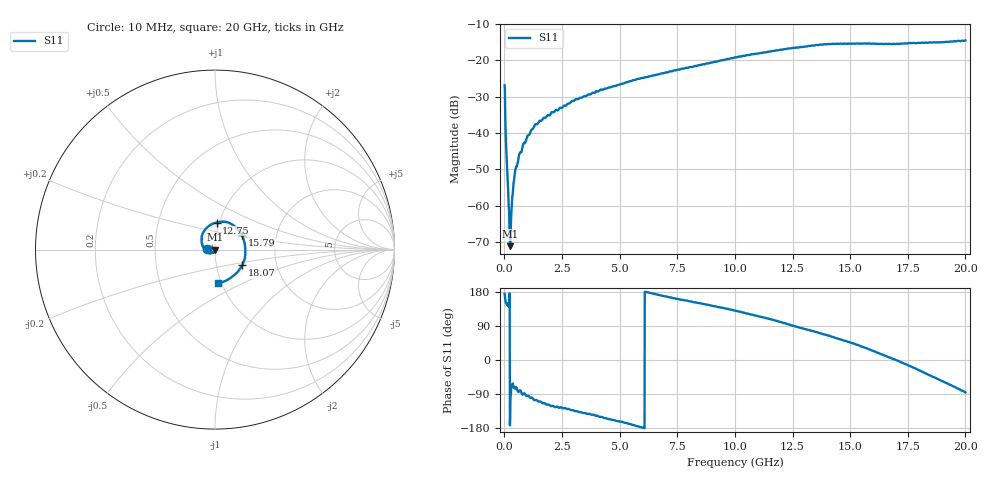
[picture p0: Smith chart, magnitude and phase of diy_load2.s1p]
#  HZ  S  DB  R  50.00
! Rohde & Schwarz Vector Network Analyzer
! Rohde-Schwarz,ZNA26-4Port,1332450024101475,2.90
! Created: UTC 5/21/2025, 7:05:56 PM
! freq[Hz]  db:S11  ang:S11
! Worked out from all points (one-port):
!   2000 points, 10 MHz to 20 GHz, reference 50 ohm
!   lowest |S11| = -71.2 dB at 260 MHz (marker M1), VSWR 1.00, Z = 50 - j0.0263 ohm
!   |S11| at or under -10 dB: start of sweep to end of sweep
!   S11 on the Smith chart (normalised r, x): 10 MHz: 0.91, +0.01; 12.75 GHz: 0.97, +0.30; 15.79 GHz: 1.33, +0.23; 18.07 GHz: 1.33, -0.24; 20 GHz: 0.96, -0.37
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1e7  -26.86 174.7
5e7  -39.00 154.3
8e7  -44.33 149.7
1.4e8  -53.00 145.2
1.7e8  -57.22 146.4
2.1e8  -63.03 142.9
2.6e8  -71.20 -107.1
2.9e8  -63.81 -79.0
3.2e8  -60.28 -68.4
3.8e8  -55.77 -67.3
4.1e8  -53.48 -73.8
5.3e8  -49.25 -73.5
7.1e8  -45.45 -81.9
9e8  -42.67 -89.8
1.24e9  -38.81 -101.8
1.41e9  -37.62 -106.2
2.51e9  -33.03 -126.8
3.17e9  -30.67 -135.6
5.01e9  -26.65 -162.3
7.51e9  -22.56 161.0
1.001e10  -19.15 130.3
1.251e10  -16.56 90.9
1.275e10  -16.46 86.4
1.501e10  -15.40 46.2
1.579e10  -15.32 28.7
1.751e10  -15.29 -13.9
1.807e10  -15.13 -29.7
2e10  -14.50 -85.6
